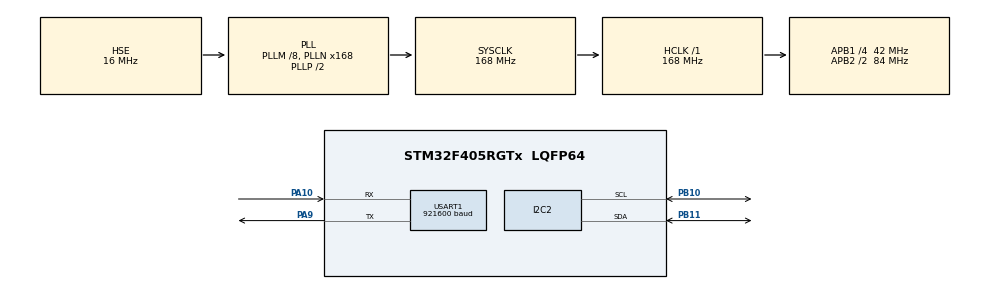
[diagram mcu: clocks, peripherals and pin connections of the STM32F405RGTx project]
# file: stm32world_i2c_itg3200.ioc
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I2C2.I2C_Mode=I2C_Fast
Mcu.Family=STM32F4
Mcu.Name=STM32F405RGTx
Mcu.Package=LQFP64
NVIC.PriorityGroup=NVIC_PRIORITYGROUP_4
PA10.Mode=Asynchronous
PA10.Signal=USART1_RX
PA13.Mode=Trace_Asynchronous_SW
PA13.Signal=SYS_JTMS-SWDIO
PA14.Mode=Trace_Asynchronous_SW
PA14.Signal=SYS_JTCK-SWCLK
PA9.Mode=Asynchronous
PA9.Signal=USART1_TX
PB10.Mode=I2C
PB10.Signal=I2C2_SCL
PB11.Mode=I2C
PB11.Signal=I2C2_SDA
PB3.Mode=Trace_Asynchronous_SW
PB3.Signal=SYS_JTDO-SWO
PH0-OSC_IN.Mode=HSE-External-Oscillator
PH0-OSC_IN.Signal=RCC_OSC_IN
PH1-OSC_OUT.Mode=HSE-External-Oscillator
PH1-OSC_OUT.Signal=RCC_OSC_OUT
ProjectManager.HeapSize=0x200
ProjectManager.StackSize=0x400
ProjectManager.TargetToolchain=STM32CubeIDE
RCC.48MHZClocksFreq_Value=84000000
RCC.AHBFreq_Value=168000000
RCC.APB1CLKDivider=RCC_HCLK_DIV4
RCC.APB1Freq_Value=42000000
RCC.APB1TimFreq_Value=84000000
RCC.APB2CLKDivider=RCC_HCLK_DIV2
RCC.APB2Freq_Value=84000000
RCC.APB2TimFreq_Value=168000000
RCC.CortexFreq_Value=168000000
RCC.HCLKFreq_Value=168000000
RCC.HSE_VALUE=16000000
RCC.HSI_VALUE=16000000
RCC.LSE_VALUE=32768
RCC.PLLM=8
RCC.PLLN=168
RCC.PLLSourceVirtual=RCC_PLLSOURCE_HSE
RCC.SYSCLKFreq_VALUE=168000000
RCC.SYSCLKSource=RCC_SYSCLKSOURCE_PLLCLK
RCC.VCOOutputFreq_Value=336000000
USART1.BaudRate=921600
USART1.VirtualMode=VM_ASYNC
board=custom

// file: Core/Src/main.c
/* USER CODE BEGIN Header */
/**
  ******************************************************************************
  * @file           : main.c
  * @brief          : Main program body
  ******************************************************************************
  * @attention
  *
  * Copyright (c) 2024 Lars Boegild Thomsen <lth@stm32world.com>
  * All rights reserved.
  *
  * This software is licensed under terms that can be found in the LICENSE file
  * in the root directory of this software component.
  * If no LICENSE file comes with this software, it is provided AS-IS.
  *
  ******************************************************************************
  */
/* USER CODE END Header */
#include "main.h"

/* USER CODE BEGIN Includes */
#include <stdio.h>
#include "itg3200.h"
/* USER CODE END Includes */

I2C_HandleTypeDef hi2c2;

UART_HandleTypeDef huart1;

/* USER CODE BEGIN PV */
ITG3200_HandleTypeDef itg;
/* USER CODE END PV */

void SystemClock_Config(void);
static void MX_GPIO_Init(void);
static void MX_USART1_UART_Init(void);
static void MX_I2C2_Init(void);

/* USER CODE BEGIN 0 */

// Send printf to uart1
int _write(int fd, char *ptr, int len) {
    HAL_StatusTypeDef hstatus;

    if (fd == 1 || fd == 2) {
        hstatus = HAL_UART_Transmit(&huart1, (uint8_t*) ptr, len, HAL_MAX_DELAY);
        if (hstatus == HAL_OK)
            return len;
        else
            return -1;
    }
    return -1;
}

/* USER CODE END 0 */

int main(void)
{

  /* MCU Configuration--------------------------------------------------------*/

  /* Reset of all peripherals, Initializes the Flash interface and the Systick. */
  HAL_Init();

  /* Configure the system clock */
  SystemClock_Config();

  /* Initialize all configured peripherals */
  MX_GPIO_Init();
  MX_USART1_UART_Init();
  MX_I2C2_Init();
  /* USER CODE BEGIN 2 */

  printf("\n\n\n--------\nStarting\n");

  printf("Scan i2c2\n");
  // Go through all possible i2c addresses
    for (uint8_t i = 0; i < 128; i++) {

        if (HAL_I2C_IsDeviceReady(&hi2c2, (uint16_t)(i<<1), 3, 5) == HAL_OK) {
            // We got an ack
            printf("%2x ", i);
        } else {
            printf("-- ");
        }

        if (i > 0 && (i + 1) % 16 == 0) printf("\n");

    }

    printf("\n");

    printf("Initialising ITG3200\n");
    if (itg3200_init(&itg, &hi2c2, ITG3200_DEFAULT_ADDR) != ITG3200_OK) {
        printf("Error\n");
    }

//    printf("Getting temperature\n");
//    if (itg3200_get_temp(&itg) != ITG3200_OK) {
//        printf("Error\n");
//    }

  /* USER CODE END 2 */

  /* Infinite loop */
  /* USER CODE BEGIN WHILE */
    uint32_t now = 0, loop_cnt = 0, next_tick = 1000;

    while (1) {

        now = uwTick;

        if (now >= next_tick) {

            float temperature;
            itg3200_get_temp(&itg, &temperature);

            printf("Tick %lu (loop = %lu temp = %0.2f)\n", now / 1000, loop_cnt, temperature);

            loop_cnt = 0;
            next_tick = now + 1000;

        }

        ++loop_cnt;

    /* USER CODE END WHILE */

  }
}

void SystemClock_Config(void)
{
  RCC_OscInitTypeDef RCC_OscInitStruct = {0};
  RCC_ClkInitTypeDef RCC_ClkInitStruct = {0};

  /** Configure the main internal regulator output voltage
  */
  __HAL_RCC_PWR_CLK_ENABLE();
  __HAL_PWR_VOLTAGESCALING_CONFIG(PWR_REGULATOR_VOLTAGE_SCALE1);

  /** Initializes the RCC Oscillators according to the specified parameters
  * in the RCC_OscInitTypeDef structure.
  */
  RCC_OscInitStruct.OscillatorType = RCC_OSCILLATORTYPE_HSE;
  RCC_OscInitStruct.HSEState = RCC_HSE_ON;
  RCC_OscInitStruct.PLL.PLLState = RCC_PLL_ON;
  RCC_OscInitStruct.PLL.PLLSource = RCC_PLLSOURCE_HSE;
  RCC_OscInitStruct.PLL.PLLM = 8;
  RCC_OscInitStruct.PLL.PLLN = 168;
  RCC_OscInitStruct.PLL.PLLP = RCC_PLLP_DIV2;
  RCC_OscInitStruct.PLL.PLLQ = 4;
  if (HAL_RCC_OscConfig(&RCC_OscInitStruct) != HAL_OK)
  {
    Error_Handler();
  }

  /** Initializes the CPU, AHB and APB buses clocks
  */
  RCC_ClkInitStruct.ClockType = RCC_CLOCKTYPE_HCLK|RCC_CLOCKTYPE_SYSCLK
                              |RCC_CLOCKTYPE_PCLK1|RCC_CLOCKTYPE_PCLK2;
  RCC_ClkInitStruct.SYSCLKSource = RCC_SYSCLKSOURCE_PLLCLK;
  RCC_ClkInitStruct.AHBCLKDivider = RCC_SYSCLK_DIV1;
  RCC_ClkInitStruct.APB1CLKDivider = RCC_HCLK_DIV4;
  RCC_ClkInitStruct.APB2CLKDivider = RCC_HCLK_DIV2;

  if (HAL_RCC_ClockConfig(&RCC_ClkInitStruct, FLASH_LATENCY_5) != HAL_OK)
  {
    Error_Handler();
  }
}

static void MX_I2C2_Init(void)
{

  hi2c2.Instance = I2C2;
  hi2c2.Init.ClockSpeed = 400000;
  hi2c2.Init.DutyCycle = I2C_DUTYCYCLE_2;
  hi2c2.Init.OwnAddress1 = 0;
  hi2c2.Init.AddressingMode = I2C_ADDRESSINGMODE_7BIT;
  hi2c2.Init.DualAddressMode = I2C_DUALADDRESS_DISABLE;
  hi2c2.Init.OwnAddress2 = 0;
  hi2c2.Init.GeneralCallMode = I2C_GENERALCALL_DISABLE;
  hi2c2.Init.NoStretchMode = I2C_NOSTRETCH_DISABLE;
  if (HAL_I2C_Init(&hi2c2) != HAL_OK)
  {
    Error_Handler();
  }

}

static void MX_USART1_UART_Init(void)
{

  huart1.Instance = USART1;
  huart1.Init.BaudRate = 921600;
  huart1.Init.WordLength = UART_WORDLENGTH_8B;
  huart1.Init.StopBits = UART_STOPBITS_1;
  huart1.Init.Parity = UART_PARITY_NONE;
  huart1.Init.Mode = UART_MODE_TX_RX;
  huart1.Init.HwFlowCtl = UART_HWCONTROL_NONE;
  huart1.Init.OverSampling = UART_OVERSAMPLING_16;
  if (HAL_UART_Init(&huart1) != HAL_OK)
  {
    Error_Handler();
  }

}

static void MX_GPIO_Init(void)
{

  /* GPIO Ports Clock Enable */
  __HAL_RCC_GPIOH_CLK_ENABLE();
  __HAL_RCC_GPIOB_CLK_ENABLE();
  __HAL_RCC_GPIOA_CLK_ENABLE();

}

void Error_Handler(void)
{
  __disable_irq();
  while (1)
  {
  }
}
